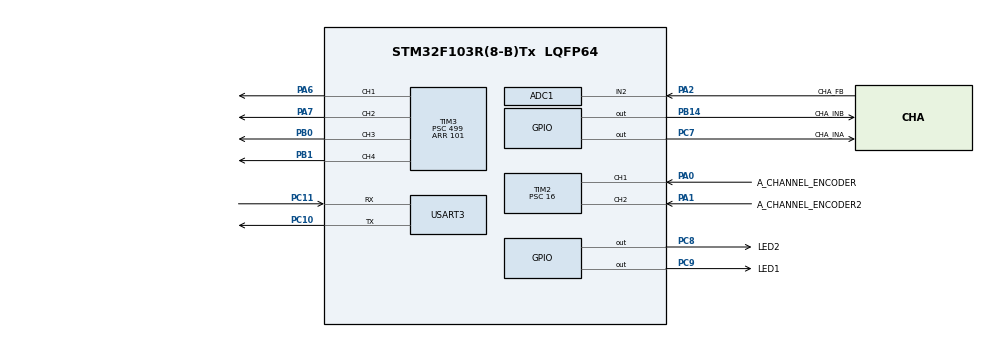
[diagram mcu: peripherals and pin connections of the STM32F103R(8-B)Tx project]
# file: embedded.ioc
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ADC1.Channel-0\#ChannelRegularConversion=ADC_CHANNEL_2
ADC1.NbrOfConversionFlag=1
ADC1.Rank-0\#ChannelRegularConversion=1
ADC1.SamplingTime-0\#ChannelRegularConversion=ADC_SAMPLETIME_1CYCLE_5
ADC1.master=1
Mcu.Family=STM32F1
Mcu.Name=STM32F103R(8-B)Tx
Mcu.Package=LQFP64
NVIC.PriorityGroup=NVIC_PRIORITYGROUP_4
NVIC.USART3_IRQn=true\:0\:0\:false\:false\:true\:true\:true
PA0-WKUP.GPIO_Label=A_CHANNEL_ENCODER
PA0-WKUP.Signal=S_TIM2_CH1_ETR
PA1.GPIO_Label=A_CHANNEL_ENCODER2
PA1.Signal=S_TIM2_CH2
PA13.Mode=Serial_Wire
PA13.Signal=SYS_JTMS-SWDIO
PA14.Mode=Serial_Wire
PA14.Signal=SYS_JTCK-SWCLK
PA2.GPIO_Label=CHA_FB
PA2.Signal=ADCx_IN2
PA6.Signal=S_TIM3_CH1
PA7.Signal=S_TIM3_CH2
PB0.Signal=S_TIM3_CH3
PB1.Signal=S_TIM3_CH4
PB14.GPIO_Label=CHA_INB
PB14.Signal=GPIO_Output
PC10.Mode=Asynchronous
PC10.Signal=USART3_TX
PC11.Mode=Asynchronous
PC11.Signal=USART3_RX
PC7.GPIO_Label=CHA_INA
PC7.Signal=GPIO_Output
PC8.GPIO_Label=LED2
PC8.GPIO_ModeDefaultOutputPP=GPIO_MODE_OUTPUT_OD
PC8.Signal=GPIO_Output
PC9.GPIO_Label=LED1
PC9.GPIO_ModeDefaultOutputPP=GPIO_MODE_OUTPUT_OD
PC9.PinState=GPIO_PIN_SET
PC9.Signal=GPIO_Output
ProjectManager.HeapSize=0x200
ProjectManager.StackSize=0x400
ProjectManager.TargetToolchain=Makefile
RCC.APB1Freq_Value=8000000
RCC.APB2Freq_Value=8000000
SH.ADCx_IN2.0=ADC1_IN2,IN2
SH.S_TIM2_CH1_ETR.0=TIM2_CH1,Encoder_Interface
SH.S_TIM2_CH2.0=TIM2_CH2,Encoder_Interface
SH.S_TIM3_CH1.0=TIM3_CH1,PWM Generation1 CH1
SH.S_TIM3_CH2.0=TIM3_CH2,PWM Generation2 CH2
SH.S_TIM3_CH3.0=TIM3_CH3,PWM Generation3 CH3
SH.S_TIM3_CH4.0=TIM3_CH4,PWM Generation4 CH4
TIM2.EncoderMode=TIM_ENCODERMODE_TI12
TIM2.Period=65535
TIM2.Prescaler=16
TIM3.Channel-PWM\ Generation1\ CH1=TIM_CHANNEL_1
TIM3.Channel-PWM\ Generation2\ CH2=TIM_CHANNEL_2
TIM3.Channel-PWM\ Generation3\ CH3=TIM_CHANNEL_3
TIM3.Channel-PWM\ Generation4\ CH4=TIM_CHANNEL_4
TIM3.Period=101
TIM3.Prescaler=499
USART3.VirtualMode=VM_ASYNC
VP_TIM3_VS_ClockSourceINT.Mode=Internal
board=custom

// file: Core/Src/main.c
/* USER CODE BEGIN Header */
/**
  ******************************************************************************
  * @file           : main.c
  * @brief          : Main program body
  ******************************************************************************
  * @attention
  *
  * <h2><center>&copy; Copyright (c) 2020 STMicroelectronics.
  * All rights reserved.</center></h2>
  *
  * This software component is licensed by ST under BSD 3-Clause license,
  * the "License"; You may not use this file except in compliance with the
  * License. You may obtain a copy of the License at:
  *                        opensource.org/licenses/BSD-3-Clause
  *
  ******************************************************************************
  */
/* USER CODE END Header */

#include "main.h"

ADC_HandleTypeDef hadc1;

TIM_HandleTypeDef htim2;
TIM_HandleTypeDef htim3;

UART_HandleTypeDef huart3;

void SystemClock_Config(void);
static void MX_GPIO_Init(void);
static void MX_TIM2_Init(void);
static void MX_TIM3_Init(void);
static void MX_ADC1_Init(void);
static void MX_USART3_UART_Init(void);

int main(void)
{

  /* MCU Configuration--------------------------------------------------------*/

  /* Reset of all peripherals, Initializes the Flash interface and the Systick. */
  HAL_Init();

  /* Configure the system clock */
  SystemClock_Config();

  /* Initialize all configured peripherals */
  MX_GPIO_Init();
  MX_TIM2_Init();
  MX_TIM3_Init();
  MX_ADC1_Init();
  MX_USART3_UART_Init();

  /* Infinite loop */
  /* USER CODE BEGIN WHILE */
  int p = 0;

  HAL_TIM_PWM_Start(&htim3, TIM_CHANNEL_1);
  HAL_TIM_PWM_Start(&htim3, TIM_CHANNEL_2);
  HAL_TIM_PWM_Start(&htim3, TIM_CHANNEL_3);
  HAL_TIM_PWM_Start(&htim3, TIM_CHANNEL_4);

  HAL_TIM_Encoder_Start(&htim2, TIM_CHANNEL_ALL);
  HAL_ADC_Start(&hadc1);
  int l = 0;
  TIM3->CCR3 = 25;
  TIM3->CCR4 = 25;
  TIM3->CCR1 = 25;
  TIM3->CCR2 = 25;

  TIM2->CNT = 65536/2;
  int cnt = 0;
  char data[50];

  while (1)
  {
    p += 1;
    HAL_Delay(50);
    uint16_t adc_read;
    if (HAL_ADC_PollForConversion(&hadc1, 2) == HAL_OK) {
      adc_read = HAL_ADC_GetValue(&hadc1);
      HAL_ADC_Start(&hadc1);
    } else adc_read = 0;

    int size = sprintf(data, "prund %d, silnik zrobil brrr %d razy\n\r", adc_read, ((TIM2->CNT)>>2));
    cnt ++;
    HAL_UART_Transmit_IT(&huart3, data, size);

    if (p >= 0 && p < 100) {
      TIM3->CCR3 = p;

      HAL_GPIO_WritePin(LED1_GPIO_Port, LED1_Pin, 0);
      HAL_GPIO_WritePin(LED2_GPIO_Port, LED2_Pin, 1);

      HAL_GPIO_WritePin(CHA_INA_GPIO_Port, CHA_INA_Pin, 0);
      HAL_GPIO_WritePin(CHA_INB_GPIO_Port, CHA_INB_Pin, 1);
      // zwiększam prawo
    } else if (p >= 100 && p < 200) {
      TIM3->CCR3 = 200 - p;
      HAL_GPIO_WritePin(LED1_GPIO_Port, LED1_Pin, 0);
      HAL_GPIO_WritePin(LED2_GPIO_Port, LED2_Pin, 1);

      HAL_GPIO_WritePin(CHA_INA_GPIO_Port, CHA_INA_Pin, 0);
      HAL_GPIO_WritePin(CHA_INB_GPIO_Port, CHA_INB_Pin, 1);
      // zmniejszam prawo
    } else if (p >= 200 && p < 300) {
      TIM3->CCR3 = p - 200;
      HAL_GPIO_WritePin(LED1_GPIO_Port, LED1_Pin, 1);
      HAL_GPIO_WritePin(LED2_GPIO_Port, LED2_Pin, 0);

      HAL_GPIO_WritePin(CHA_INA_GPIO_Port, CHA_INA_Pin, 1);
      HAL_GPIO_WritePin(CHA_INB_GPIO_Port, CHA_INB_Pin, 0);
      // zwiększam lewo
    } else if (p >= 300 && p < 400) {
      TIM3->CCR3 = 400 - p;

      HAL_GPIO_WritePin(LED1_GPIO_Port, LED1_Pin, 1);
      HAL_GPIO_WritePin(LED2_GPIO_Port, LED2_Pin, 0);

      HAL_GPIO_WritePin(CHA_INA_GPIO_Port, CHA_INA_Pin, 1);
      HAL_GPIO_WritePin(CHA_INB_GPIO_Port, CHA_INB_Pin, 0);
      // zmniejszam lewo
    } else {
      p = 0;
    }
    /* USER CODE END WHILE */

  }
}

void SystemClock_Config(void)
{
  RCC_OscInitTypeDef RCC_OscInitStruct = {0};
  RCC_ClkInitTypeDef RCC_ClkInitStruct = {0};
  RCC_PeriphCLKInitTypeDef PeriphClkInit = {0};

  /** Initializes the CPU, AHB and APB busses clocks
  */
  RCC_OscInitStruct.OscillatorType = RCC_OSCILLATORTYPE_HSI;
  RCC_OscInitStruct.HSIState = RCC_HSI_ON;
  RCC_OscInitStruct.HSICalibrationValue = RCC_HSICALIBRATION_DEFAULT;
  RCC_OscInitStruct.PLL.PLLState = RCC_PLL_NONE;
  if (HAL_RCC_OscConfig(&RCC_OscInitStruct) != HAL_OK)
  {
    Error_Handler();
  }
  /** Initializes the CPU, AHB and APB busses clocks
  */
  RCC_ClkInitStruct.ClockType = RCC_CLOCKTYPE_HCLK|RCC_CLOCKTYPE_SYSCLK
                              |RCC_CLOCKTYPE_PCLK1|RCC_CLOCKTYPE_PCLK2;
  RCC_ClkInitStruct.SYSCLKSource = RCC_SYSCLKSOURCE_HSI;
  RCC_ClkInitStruct.AHBCLKDivider = RCC_SYSCLK_DIV1;
  RCC_ClkInitStruct.APB1CLKDivider = RCC_HCLK_DIV1;
  RCC_ClkInitStruct.APB2CLKDivider = RCC_HCLK_DIV1;

  if (HAL_RCC_ClockConfig(&RCC_ClkInitStruct, FLASH_LATENCY_0) != HAL_OK)
  {
    Error_Handler();
  }
  PeriphClkInit.PeriphClockSelection = RCC_PERIPHCLK_ADC;
  PeriphClkInit.AdcClockSelection = RCC_ADCPCLK2_DIV2;
  if (HAL_RCCEx_PeriphCLKConfig(&PeriphClkInit) != HAL_OK)
  {
    Error_Handler();
  }
}

static void MX_ADC1_Init(void)
{

  ADC_ChannelConfTypeDef sConfig = {0};

  /** Common config
  */
  hadc1.Instance = ADC1;
  hadc1.Init.ScanConvMode = ADC_SCAN_DISABLE;
  hadc1.Init.ContinuousConvMode = DISABLE;
  hadc1.Init.DiscontinuousConvMode = DISABLE;
  hadc1.Init.ExternalTrigConv = ADC_SOFTWARE_START;
  hadc1.Init.DataAlign = ADC_DATAALIGN_RIGHT;
  hadc1.Init.NbrOfConversion = 1;
  if (HAL_ADC_Init(&hadc1) != HAL_OK)
  {
    Error_Handler();
  }
  /** Configure Regular Channel
  */
  sConfig.Channel = ADC_CHANNEL_2;
  sConfig.Rank = ADC_REGULAR_RANK_1;
  sConfig.SamplingTime = ADC_SAMPLETIME_1CYCLE_5;
  if (HAL_ADC_ConfigChannel(&hadc1, &sConfig) != HAL_OK)
  {
    Error_Handler();
  }

}

static void MX_TIM2_Init(void)
{

  TIM_Encoder_InitTypeDef sConfig = {0};
  TIM_MasterConfigTypeDef sMasterConfig = {0};

  htim2.Instance = TIM2;
  htim2.Init.Prescaler = 16;
  htim2.Init.CounterMode = TIM_COUNTERMODE_UP;
  htim2.Init.Period = 65535;
  htim2.Init.ClockDivision = TIM_CLOCKDIVISION_DIV1;
  htim2.Init.AutoReloadPreload = TIM_AUTORELOAD_PRELOAD_DISABLE;
  sConfig.EncoderMode = TIM_ENCODERMODE_TI12;
  sConfig.IC1Polarity = TIM_ICPOLARITY_RISING;
  sConfig.IC1Selection = TIM_ICSELECTION_DIRECTTI;
  sConfig.IC1Prescaler = TIM_ICPSC_DIV1;
  sConfig.IC1Filter = 0;
  sConfig.IC2Polarity = TIM_ICPOLARITY_RISING;
  sConfig.IC2Selection = TIM_ICSELECTION_DIRECTTI;
  sConfig.IC2Prescaler = TIM_ICPSC_DIV1;
  sConfig.IC2Filter = 0;
  if (HAL_TIM_Encoder_Init(&htim2, &sConfig) != HAL_OK)
  {
    Error_Handler();
  }
  sMasterConfig.MasterOutputTrigger = TIM_TRGO_RESET;
  sMasterConfig.MasterSlaveMode = TIM_MASTERSLAVEMODE_DISABLE;
  if (HAL_TIMEx_MasterConfigSynchronization(&htim2, &sMasterConfig) != HAL_OK)
  {
    Error_Handler();
  }

}

static void MX_TIM3_Init(void)
{

  TIM_ClockConfigTypeDef sClockSourceConfig = {0};
  TIM_MasterConfigTypeDef sMasterConfig = {0};
  TIM_OC_InitTypeDef sConfigOC = {0};

  htim3.Instance = TIM3;
  htim3.Init.Prescaler = 499;
  htim3.Init.CounterMode = TIM_COUNTERMODE_UP;
  htim3.Init.Period = 101;
  htim3.Init.ClockDivision = TIM_CLOCKDIVISION_DIV1;
  htim3.Init.AutoReloadPreload = TIM_AUTORELOAD_PRELOAD_DISABLE;
  if (HAL_TIM_Base_Init(&htim3) != HAL_OK)
  {
    Error_Handler();
  }
  sClockSourceConfig.ClockSource = TIM_CLOCKSOURCE_INTERNAL;
  if (HAL_TIM_ConfigClockSource(&htim3, &sClockSourceConfig) != HAL_OK)
  {
    Error_Handler();
  }
  if (HAL_TIM_PWM_Init(&htim3) != HAL_OK)
  {
    Error_Handler();
  }
  sMasterConfig.MasterOutputTrigger = TIM_TRGO_RESET;
  sMasterConfig.MasterSlaveMode = TIM_MASTERSLAVEMODE_DISABLE;
  if (HAL_TIMEx_MasterConfigSynchronization(&htim3, &sMasterConfig) != HAL_OK)
  {
    Error_Handler();
  }
  sConfigOC.OCMode = TIM_OCMODE_PWM1;
  sConfigOC.Pulse = 0;
  sConfigOC.OCPolarity = TIM_OCPOLARITY_HIGH;
  sConfigOC.OCFastMode = TIM_OCFAST_DISABLE;
  if (HAL_TIM_PWM_ConfigChannel(&htim3, &sConfigOC, TIM_CHANNEL_1) != HAL_OK)
  {
    Error_Handler();
  }
  if (HAL_TIM_PWM_ConfigChannel(&htim3, &sConfigOC, TIM_CHANNEL_2) != HAL_OK)
  {
    Error_Handler();
  }
  if (HAL_TIM_PWM_ConfigChannel(&htim3, &sConfigOC, TIM_CHANNEL_3) != HAL_OK)
  {
    Error_Handler();
  }
  if (HAL_TIM_PWM_ConfigChannel(&htim3, &sConfigOC, TIM_CHANNEL_4) != HAL_OK)
  {
    Error_Handler();
  }
  HAL_TIM_MspPostInit(&htim3);

}

static void MX_USART3_UART_Init(void)
{

  huart3.Instance = USART3;
  huart3.Init.BaudRate = 115200;
  huart3.Init.WordLength = UART_WORDLENGTH_8B;
  huart3.Init.StopBits = UART_STOPBITS_1;
  huart3.Init.Parity = UART_PARITY_NONE;
  huart3.Init.Mode = UART_MODE_TX_RX;
  huart3.Init.HwFlowCtl = UART_HWCONTROL_NONE;
  huart3.Init.OverSampling = UART_OVERSAMPLING_16;
  if (HAL_UART_Init(&huart3) != HAL_OK)
  {
    Error_Handler();
  }

}

static void MX_GPIO_Init(void)
{
  GPIO_InitTypeDef GPIO_InitStruct = {0};

  /* GPIO Ports Clock Enable */
  __HAL_RCC_GPIOA_CLK_ENABLE();
  __HAL_RCC_GPIOB_CLK_ENABLE();
  __HAL_RCC_GPIOC_CLK_ENABLE();

  /*Configure GPIO pin Output Level */
  HAL_GPIO_WritePin(CHA_INB_GPIO_Port, CHA_INB_Pin, GPIO_PIN_RESET);

  /*Configure GPIO pin Output Level */
  HAL_GPIO_WritePin(GPIOC, CHA_INA_Pin|LED2_Pin, GPIO_PIN_RESET);

  /*Configure GPIO pin Output Level */
  HAL_GPIO_WritePin(LED1_GPIO_Port, LED1_Pin, GPIO_PIN_SET);

  /*Configure GPIO pin : CHA_INB_Pin */
  GPIO_InitStruct.Pin = CHA_INB_Pin;
  GPIO_InitStruct.Mode = GPIO_MODE_OUTPUT_PP;
  GPIO_InitStruct.Pull = GPIO_NOPULL;
  GPIO_InitStruct.Speed = GPIO_SPEED_FREQ_LOW;
  HAL_GPIO_Init(CHA_INB_GPIO_Port, &GPIO_InitStruct);

  /*Configure GPIO pin : CHA_INA_Pin */
  GPIO_InitStruct.Pin = CHA_INA_Pin;
  GPIO_InitStruct.Mode = GPIO_MODE_OUTPUT_PP;
  GPIO_InitStruct.Pull = GPIO_NOPULL;
  GPIO_InitStruct.Speed = GPIO_SPEED_FREQ_LOW;
  HAL_GPIO_Init(CHA_INA_GPIO_Port, &GPIO_InitStruct);

  /*Configure GPIO pins : LED2_Pin LED1_Pin */
  GPIO_InitStruct.Pin = LED2_Pin|LED1_Pin;
  GPIO_InitStruct.Mode = GPIO_MODE_OUTPUT_OD;
  GPIO_InitStruct.Pull = GPIO_NOPULL;
  GPIO_InitStruct.Speed = GPIO_SPEED_FREQ_LOW;
  HAL_GPIO_Init(GPIOC, &GPIO_InitStruct);

}

void Error_Handler(void)
{
}

/************************ (C) COPYRIGHT STMicroelectronics *****END OF FILE****/
